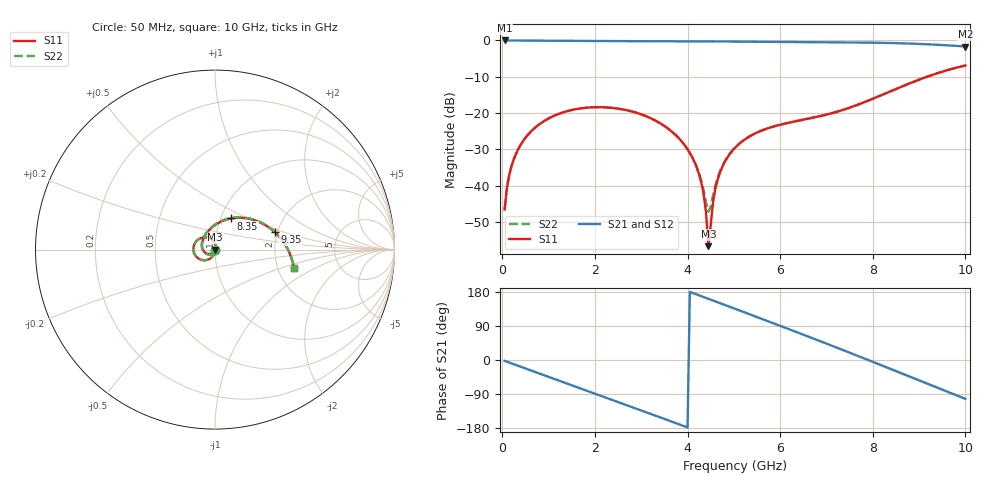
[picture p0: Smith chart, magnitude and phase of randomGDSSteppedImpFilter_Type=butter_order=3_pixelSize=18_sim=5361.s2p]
! freq	dB(S11)	phase(S11)	dB(S12)	phase(S12)
!  dB(S21)	phase(S21)	dB(S22)	phase(S22)
!S-par simulation data
#  GHz  S  DB  R 50
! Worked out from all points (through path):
!   200 points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, 50 MHz to 10 GHz, reference 50 ohm
!   highest |S21| = 0.00 dB at 50 MHz (marker M1); lowest = -1.7 dB at 10 GHz (marker M2)
!   group delay of S21, straight-line fit = 128 ps
!   lowest |S11| = -56.7 dB at 4.45 GHz (marker M3), VSWR 1.00, Z = 50.1 + j0.0204 ohm
!   |S11| at or under -10 dB: start of sweep to 9.172 GHz
!   |S22| runs from -47.2 to -6.9 dB; largest |S21 - S12| = 0
!   S11 on the Smith chart (normalised r, x): 50 MHz: 1.00, -0.01; 8.35 GHz: 1.12, +0.40; 9.35 GHz: 1.93, +0.43; 10 GHz: 2.46, -0.63
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0.05  -46.60 -91.6  -0.00 -2.3  -0.00 -2.3  -46.60 -91.6
0.1  -40.59 -94.2  -0.01 -4.5  -0.01 -4.5  -40.59 -94.2
0.2  -34.60 -98.9  -0.02 -9.0  -0.02 -9.0  -34.60 -98.9
0.5  -26.83 -112.5  -0.04 -22.3  -0.04 -22.3  -26.83 -112.6
1  -21.50 -135.2  -0.08 -44.5  -0.08 -44.5  -21.50 -135.2
1.75  -18.62 -168.8  -0.15 -77.6  -0.15 -77.6  -18.62 -169.0
2.55  -18.89 155.8  -0.19 -112.9  -0.19 -112.9  -18.89 155.4
3.4  -22.76 117.1  -0.21 -150.9  -0.21 -150.9  -22.75 115.9
3.9  -28.24 93.6  -0.23 -173.5  -0.23 -173.5  -28.22 90.2
4.2  -35.05 77.7  -0.25 172.9  -0.25 172.9  -34.87 69.1
4.35  -42.52 65.4  -0.26 166.1  -0.26 166.1  -41.47 45.4
4.4  -47.51 55.6  -0.26 163.8  -0.26 163.8  -44.71 26.0
4.45  -56.69 8.0  -0.27 161.5  -0.27 161.5  -47.19 -10.7
4.55  -44.63 -102.5  -0.27 156.9  -0.27 156.9  -42.77 -76.7
4.65  -38.38 -113.5  -0.28 152.4  -0.28 152.4  -37.83 -98.3
5.05  -29.27 -136.1  -0.32 134.0  -0.32 134.0  -29.19 -129.5
5.9  -23.56 -178.2  -0.39 94.8  -0.39 94.8  -23.56 -173.7
6.7  -21.31 141.8  -0.46 57.4  -0.46 57.4  -21.35 145.8
7.55  -18.29 100.0  -0.54 17.0  -0.54 17.0  -18.34 102.8
8.35  -14.19 62.7  -0.70 -21.9  -0.70 -21.9  -14.21 64.2
9.35  -9.22 16.6  -1.16 -71.1  -1.16 -71.1  -9.23 17.0
10  -6.91 -13.1  -1.67 -102.5  -1.67 -102.5  -6.91 -13.0
